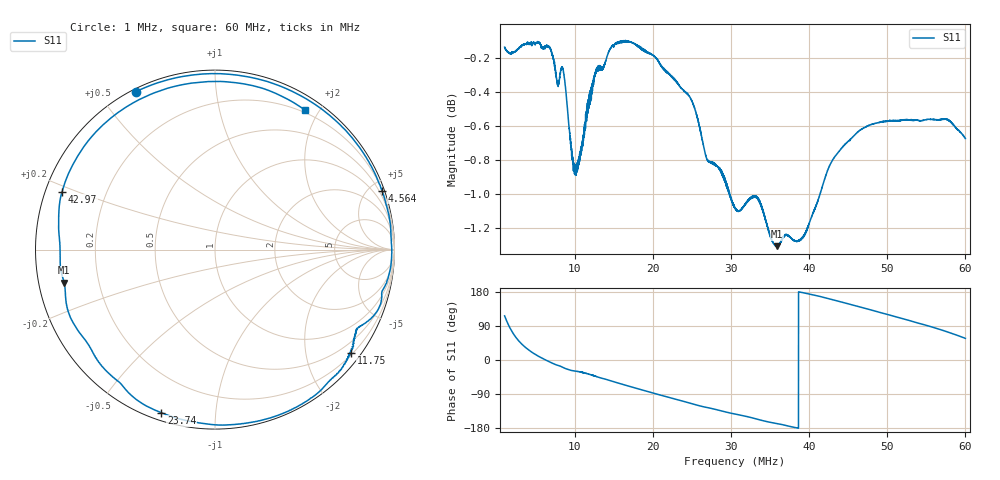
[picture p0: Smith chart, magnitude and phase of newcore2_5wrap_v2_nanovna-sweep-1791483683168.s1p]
! NanoVNA Web complex sweep
! Processing: unaveraged complex samples; linear segment spacing; no smoothing
# Hz S RI R 50
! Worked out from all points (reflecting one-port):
!   5050 points, 1 MHz to 60 MHz, reference 50 ohm
!   lowest |S11| = -1.3 dB at 35.82 MHz (marker M1), VSWR 13.30, Z = 3.8 - j5.41 ohm
!   phase of S11 starts at 117 deg and turns -419 deg over the sweep
!   S11 on the Smith chart (normalised r, x): 1 MHz: 0.01, +0.62; 4.564 MHz: 0.25, +5.82; 11.75 MHz: 0.25, -2.96; 23.74 MHz: 0.03, -0.72; 42.97 MHz: 0.05, +0.18; 60 MHz: 0.17, +1.83
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1000000  -0.4394 0.8805
1210330  -0.2643 0.9458
1701100  0.102 0.9747
2133445  0.3538 0.9148
2600845  0.5551 0.8103
3477220  0.7918 0.5879
4563925  0.9297 0.3285
6386785  0.9845 -0.0217
8384920  0.9197 -0.3117
9015910  0.8613 -0.3915
9822175  0.8 -0.434
1.17502e7  0.7573 -0.5738
1.314072e7  0.6715 -0.7012
1.575816e7  0.4613 -0.8735
1.952072e7  0.0972 -0.9753
2.313139e7  -0.2459 -0.9287
2.373901e7  -0.2983 -0.9088
2.611106e7  -0.4879 -0.7908
3.050462e7  -0.7009 -0.5361
3.349598e7  -0.817 -0.3466
3.58213e7  -0.8401 -0.185
3.787786e7  -0.8628 -0.0478
4.297252e7  -0.8525 0.323
4.52511e7  -0.7739 0.506
4.925905e7  -0.5272 0.7729
5.262433e7  -0.2478 0.9037
5.669071e7  0.1484 0.9251
5.999756e7  0.5023 0.7768
